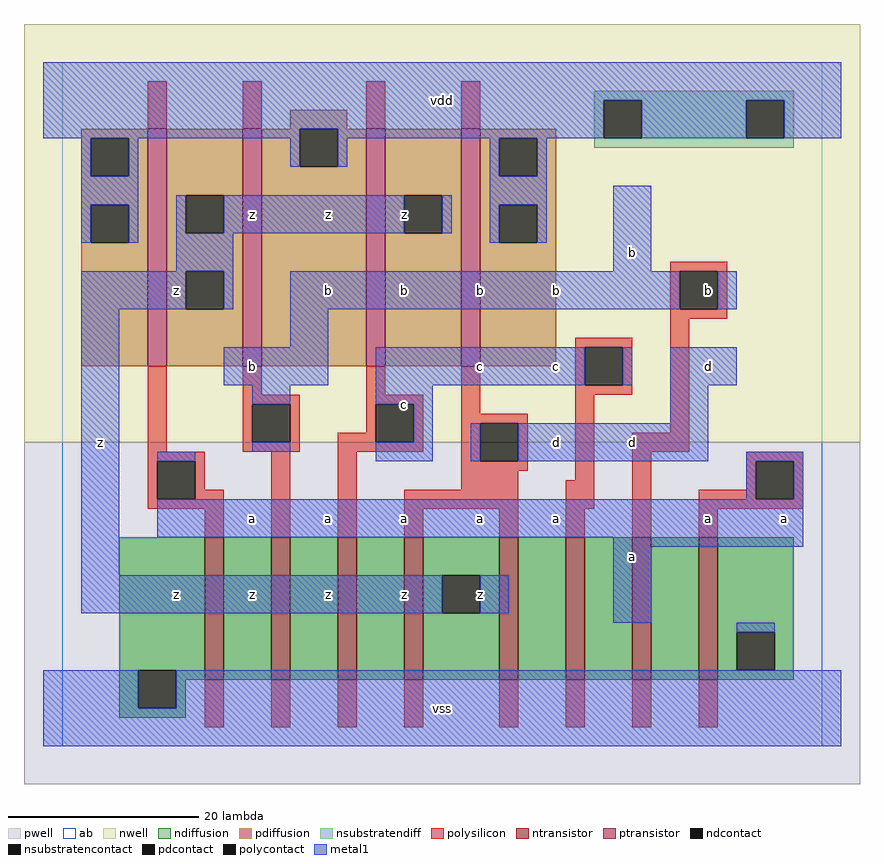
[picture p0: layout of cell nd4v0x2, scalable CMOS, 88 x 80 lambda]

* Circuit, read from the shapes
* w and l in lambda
.subckt nd4v0x2 a b c d vdd vss z
M1 n1 a vss VSUBS nfet w=15 l=2
M2 n2 b n1 VSUBS nfet w=15 l=2
M3 n3 c n2 VSUBS nfet w=15 l=2
M4 z d n3 VSUBS nfet w=15 l=2
M5 n4 d z VSUBS nfet w=15 l=2
M6 n5 c n4 VSUBS nfet w=15 l=2
M7 n6 b n5 VSUBS nfet w=15 l=2
M8 vss a n6 VSUBS nfet w=15 l=2
M9 z a vdd vdd pfet w=25 l=2
M10 vdd b z vdd pfet w=25 l=2
M11 z c vdd vdd pfet w=25 l=2
M12 vdd d z vdd pfet w=25 l=2
.ends

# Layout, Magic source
magic
tech scmos
<< ab >>
rect 0 0 80 72
<< pwell >>
rect -4 -4 84 32
<< nwell >>
rect -4 32 84 76
<< polysilicon >>
rect 9 65 11 70
rect 19 65 21 70
rect 32 65 34 70
rect 42 65 44 70
rect 64 50 70 51
rect 64 46 65 50
rect 69 46 70 50
rect 64 45 70 46
rect 54 42 60 43
rect 9 31 11 40
rect 19 37 21 40
rect 32 37 34 40
rect 19 36 25 37
rect 19 32 20 36
rect 24 32 25 36
rect 32 36 38 37
rect 32 33 33 36
rect 19 31 25 32
rect 29 32 33 33
rect 37 32 38 36
rect 29 31 38 32
rect 42 35 44 40
rect 54 38 55 42
rect 59 38 60 42
rect 54 37 60 38
rect 42 34 49 35
rect 9 30 15 31
rect 9 26 10 30
rect 14 27 15 30
rect 14 26 17 27
rect 9 25 17 26
rect 15 22 17 25
rect 22 22 24 31
rect 29 22 31 31
rect 42 30 44 34
rect 48 30 49 34
rect 42 29 49 30
rect 42 27 48 29
rect 54 28 56 37
rect 64 33 66 45
rect 36 25 48 27
rect 36 22 38 25
rect 46 22 48 25
rect 53 25 56 28
rect 60 31 66 33
rect 53 22 55 25
rect 60 22 62 31
rect 72 30 78 31
rect 72 27 73 30
rect 67 26 73 27
rect 77 26 78 30
rect 67 25 78 26
rect 67 22 69 25
rect 15 2 17 7
rect 22 2 24 7
rect 29 2 31 7
rect 36 2 38 7
rect 46 2 48 7
rect 53 2 55 7
rect 60 2 62 7
rect 67 2 69 7
<< ndiffusion >>
rect 6 8 15 22
rect 6 4 8 8
rect 12 7 15 8
rect 17 7 22 22
rect 24 7 29 22
rect 31 7 36 22
rect 38 18 46 22
rect 38 14 40 18
rect 44 14 46 18
rect 38 7 46 14
rect 48 7 53 22
rect 55 7 60 22
rect 62 7 67 22
rect 69 12 77 22
rect 69 8 71 12
rect 75 8 77 12
rect 69 7 77 8
rect 12 4 13 7
rect 6 3 13 4
<< pdiffusion >>
rect 24 65 30 67
rect 2 64 9 65
rect 2 60 3 64
rect 7 60 9 64
rect 2 57 9 60
rect 2 53 3 57
rect 7 53 9 57
rect 2 40 9 53
rect 11 58 19 65
rect 11 54 13 58
rect 17 54 19 58
rect 11 50 19 54
rect 11 46 13 50
rect 17 46 19 50
rect 11 40 19 46
rect 21 61 25 65
rect 29 61 32 65
rect 21 40 32 61
rect 34 58 42 65
rect 34 54 36 58
rect 40 54 42 58
rect 34 40 42 54
rect 44 64 52 65
rect 44 60 46 64
rect 50 60 52 64
rect 44 57 52 60
rect 44 53 46 57
rect 50 53 52 57
rect 44 40 52 53
<< metal1 >>
rect -2 68 82 72
rect -2 65 57 68
rect -2 64 25 65
rect 2 60 3 64
rect 7 60 8 64
rect 24 61 25 64
rect 29 64 57 65
rect 61 64 72 68
rect 76 64 82 68
rect 29 61 30 64
rect 2 57 8 60
rect 45 60 46 64
rect 50 60 51 64
rect 2 53 3 57
rect 7 53 8 57
rect 12 54 13 58
rect 17 54 36 58
rect 40 54 41 58
rect 45 57 51 60
rect 12 50 18 54
rect 45 53 46 57
rect 50 53 51 57
rect 58 50 62 59
rect 2 46 13 50
rect 17 46 18 50
rect 24 46 65 50
rect 69 46 71 50
rect 2 18 6 46
rect 24 42 28 46
rect 17 38 28 42
rect 33 38 55 42
rect 59 38 60 42
rect 64 38 71 42
rect 20 36 24 38
rect 20 31 24 32
rect 33 36 39 38
rect 37 32 39 36
rect 64 34 68 38
rect 10 30 14 31
rect 33 30 39 32
rect 43 30 44 34
rect 48 30 68 34
rect 72 30 78 31
rect 72 26 73 30
rect 77 26 78 30
rect 10 22 78 26
rect 58 21 78 22
rect 2 14 40 18
rect 44 14 47 18
rect 58 13 62 21
rect 71 12 75 13
rect -2 4 8 8
rect 12 4 82 8
rect -2 0 82 4
<< ntransistor >>
rect 15 7 17 22
rect 22 7 24 22
rect 29 7 31 22
rect 36 7 38 22
rect 46 7 48 22
rect 53 7 55 22
rect 60 7 62 22
rect 67 7 69 22
<< ptransistor >>
rect 9 40 11 65
rect 19 40 21 65
rect 32 40 34 65
rect 42 40 44 65
<< polycontact >>
rect 65 46 69 50
rect 20 32 24 36
rect 33 32 37 36
rect 55 38 59 42
rect 10 26 14 30
rect 44 30 48 34
rect 73 26 77 30
<< ndcontact >>
rect 8 4 12 8
rect 40 14 44 18
rect 71 8 75 12
<< pdcontact >>
rect 3 60 7 64
rect 3 53 7 57
rect 13 54 17 58
rect 13 46 17 50
rect 25 61 29 65
rect 36 54 40 58
rect 46 60 50 64
rect 46 53 50 57
<< nsubstratencontact >>
rect 57 64 61 68
rect 72 64 76 68
<< nsubstratendiff >>
rect 56 68 77 69
rect 56 64 57 68
rect 61 64 72 68
rect 76 64 77 68
rect 56 63 77 64
<< labels >>
rlabel metal1 4 32 4 32 6 z
rlabel metal1 20 16 20 16 6 z
rlabel metal1 28 16 28 16 6 z
rlabel metal1 12 16 12 16 6 z
rlabel metal1 20 24 20 24 6 a
rlabel metal1 28 24 28 24 6 a
rlabel metal1 20 40 20 40 6 b
rlabel metal1 12 48 12 48 6 z
rlabel metal1 28 48 28 48 6 b
rlabel metal1 20 56 20 56 6 z
rlabel metal1 28 56 28 56 6 z
rlabel metal1 40 4 40 4 6 vss
rlabel metal1 36 16 36 16 6 z
rlabel metal1 44 16 44 16 6 z
rlabel metal1 36 24 36 24 6 a
rlabel metal1 44 24 44 24 6 a
rlabel metal1 44 40 44 40 6 c
rlabel metal1 36 36 36 36 6 c
rlabel metal1 36 48 36 48 6 b
rlabel metal1 44 48 44 48 6 b
rlabel metal1 36 56 36 56 6 z
rlabel metal1 40 68 40 68 6 vdd
rlabel metal1 52 24 52 24 6 a
rlabel metal1 60 20 60 20 6 a
rlabel metal1 60 32 60 32 6 d
rlabel metal1 52 32 52 32 6 d
rlabel metal1 52 40 52 40 6 c
rlabel metal1 52 48 52 48 6 b
rlabel metal1 60 52 60 52 6 b
rlabel metal1 68 24 68 24 6 a
rlabel metal1 76 24 76 24 6 a
rlabel metal1 68 40 68 40 6 d
rlabel polycontact 68 48 68 48 6 b
<< end >>
